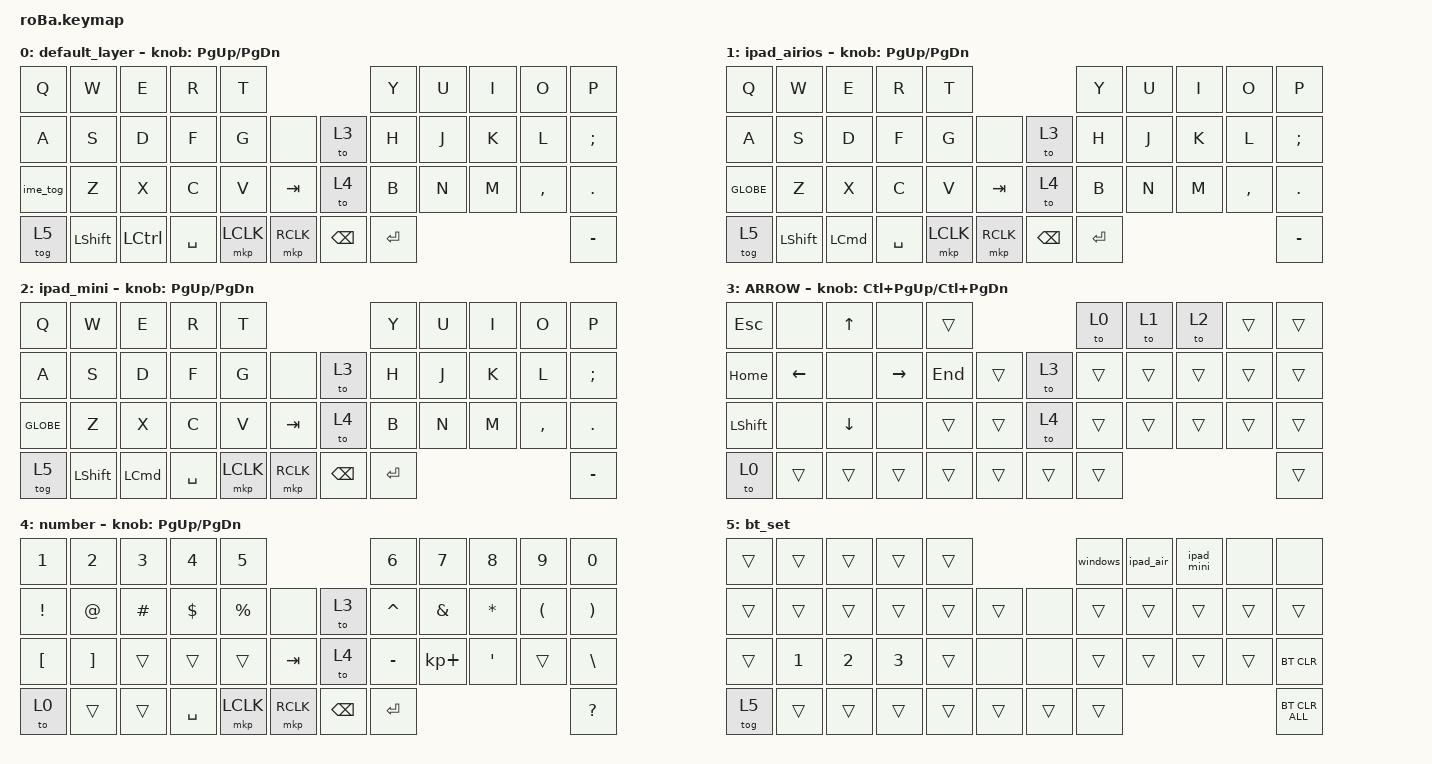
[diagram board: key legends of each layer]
#include <behaviors.dtsi>
#include <dt-bindings/zmk/bt.h>
#include <dt-bindings/zmk/keys.h>
#include <dt-bindings/zmk/pointing.h>

&mt {
    flavor = "balanced";
    quick-tap-ms = <0>;
};

&trackball {
    automouse-layer = <4>;
    scroll-layers = <5>;

    // arrows {
    //     layers = <3>;
    //     bindings =
    //         <&kp RIGHT_ARROW>,
    //         <&kp LEFT_ARROW>,
    //         <&kp UP_ARROW>,
    //         <&kp DOWN_ARROW>;
    //     tick = <10>;
    //     wait-ms = <5>;
    //     tap-ms = <5>;
    // };
};

/ {
    combos {
        compatible = "zmk,combos";

        tab {
            bindings = <&kp TAB>;
            key-positions = <11 12>;
        };

        shift_tab {
            bindings = <&kp LS(TAB)>;
            key-positions = <12 13>;
        };

        muhennkann {
            bindings = <&to_layer_0 INT_MUHENKAN>;
            key-positions = <11 10>;
        };

        double_quotation {
            bindings = <&kp DOUBLE_QUOTES>;
            key-positions = <20 21>;
        };

        eq {
            bindings = <&kp EQUAL>;
            key-positions = <24 25>;
        };
    };

    macros {
        to_layer_0: to_layer_0 {
            compatible = "zmk,behavior-macro-one-param";
            #binding-cells = <1>;
            bindings = <&to 0 &macro_param_1to1 &kp MACRO_PLACEHOLDER>;
            label = "TO_LAYER_0";
        };

        windows: windows {
            compatible = "zmk,behavior-macro";
            #binding-cells = <0>;
            bindings = <&bt BT_SEL 0>, <&macro_wait_time 200>, <&to 0>;

            label = "WINDOWS";
        };

        ipad_air: ipad_air {
            compatible = "zmk,behavior-macro";
            #binding-cells = <0>;
            bindings = <&bt BT_SEL 1>, <&macro_wait_time 200>, <&to 1>;

            label = "IPAD_AIR";
        };

        ipad_mini: ipad_mini {
            compatible = "zmk,behavior-macro";
            #binding-cells = <0>;
            bindings = <&bt BT_SEL 2>, <&macro_wait_time 200>, <&to 2>;

            label = "IPAD_MINI";
        };

        ime_tog: new_macro {
            compatible = "zmk,behavior-macro";
            #binding-cells = <0>;
            bindings =
                <&macro_press>,
                <&kp LEFT_ALT>,
                <&macro_tap>,
                <&kp GRAVE>,
                <&macro_release>,
                <&kp LEFT_ALT>;

            label = "NEW_MACRO";
        };

        mac_ime: mac_ime {
            compatible = "zmk,behavior-macro";
            #binding-cells = <0>;
            bindings =
                <&macro_press>,
                <&kp LEFT_CONTROL>,
                <&macro_tap>,
                <&kp SPACE>,
                <&macro_release>,
                <&kp LEFT_CONTROL>;

            label = "MAC_IME";
        };
    };

    behaviors {
        lt_to_layer_0: lt_to_layer_0 {
            compatible = "zmk,behavior-hold-tap";
            label = "LAYER_TAP_TO_0";
            bindings = <&mo>, <&to_layer_0>;

            #binding-cells = <2>;
            tapping-term-ms = <200>;
        };
    };

    keymap {
        compatible = "zmk,keymap";

        default_layer {
            bindings = <
&kp Q     &kp W           &kp E             &kp R      &kp T                               &kp Y    &kp U  &kp I  &kp O      &kp P
&kp A     &kp S           &kp D             &kp F      &kp G      &none          &to 3     &kp H    &kp J  &kp K  &kp L      &kp SEMICOLON
&ime_tog  &kp Z           &kp X             &kp C      &kp V      &kp TAB        &to 4     &kp B    &kp N  &kp M  &kp COMMA  &kp DOT
&tog 5    &kp LEFT_SHIFT  &kp LEFT_CONTROL  &kp SPACE  &mkp LCLK  &mkp RCLK      &kp BSPC  &kp RET                           &kp MINUS
            >;

            sensor-bindings = <&inc_dec_kp PAGE_UP PAGE_DOWN>;
        };

        ipad_airios {
            bindings = <
&kp Q      &kp W           &kp E             &kp R      &kp T                               &kp Y    &kp U  &kp I  &kp O      &kp P
&kp A      &kp S           &kp D             &kp F      &kp G      &none          &to 3     &kp H    &kp J  &kp K  &kp L      &kp SEMI
&kp GLOBE  &kp Z           &kp X             &kp C      &kp V      &kp TAB        &to 4     &kp B    &kp N  &kp M  &kp COMMA  &kp DOT
&tog 5     &kp LEFT_SHIFT  &kp LEFT_COMMAND  &kp SPACE  &mkp LCLK  &mkp RCLK      &kp BSPC  &kp RET                           &kp MINUS
            >;

            sensor-bindings = <&inc_dec_kp PAGE_UP PAGE_DOWN>;
        };

        ipad_mini {
            bindings = <
&kp Q      &kp W           &kp E             &kp R      &kp T                               &kp Y    &kp U  &kp I  &kp O      &kp P
&kp A      &kp S           &kp D             &kp F      &kp G      &none          &to 3     &kp H    &kp J  &kp K  &kp L      &kp SEMI
&kp GLOBE  &kp Z           &kp X             &kp C      &kp V      &kp TAB        &to 4     &kp B    &kp N  &kp M  &kp COMMA  &kp DOT
&tog 5     &kp LEFT_SHIFT  &kp LEFT_COMMAND  &kp SPACE  &mkp LCLK  &mkp RCLK      &kp BSPC  &kp RET                           &kp MINUS
            >;

            sensor-bindings = <&inc_dec_kp PAGE_UP PAGE_DOWN>;
        };

        ARROW {
            bindings = <
&kp ESCAPE      &none           &kp UP_ARROW    &none            &trans                       &to 0   &to 1   &to 2   &trans  &trans
&kp HOME        &kp LEFT_ARROW  &none           &kp RIGHT_ARROW  &kp END  &trans      &to 3   &trans  &trans  &trans  &trans  &trans
&kp LEFT_SHIFT  &none           &kp DOWN_ARROW  &none            &trans   &trans      &to 4   &trans  &trans  &trans  &trans  &trans
&to 0           &trans          &trans          &trans           &trans   &trans      &trans  &trans                          &trans
            >;

            sensor-bindings = <&inc_dec_kp LC(PAGE_UP) LC(PAGE_DOWN)>;
        };

        number {
            bindings = <
&kp N1    &kp N2             &kp N3     &kp N4      &kp N5                                     &kp N6     &kp N7         &kp N8            &kp N9                &kp N0
&kp EXCL  &kp AT_SIGN        &kp POUND  &kp DOLLAR  &kp PERCENT  &none          &to 3          &kp CARET  &kp AMPERSAND  &kp ASTERISK      &kp LEFT_PARENTHESIS  &kp RIGHT_PARENTHESIS
&kp LBKT  &kp RIGHT_BRACKET  &trans     &trans      &trans       &kp TAB        &to 4          &kp MINUS  &kp KP_PLUS    &kp SINGLE_QUOTE  &trans                &kp BACKSLASH
&to 0     &trans             &trans     &kp SPACE   &mkp LCLK    &mkp RCLK      &kp BACKSPACE  &kp ENTER                                                         &kp QUESTION
            >;

            sensor-bindings = <&inc_dec_kp PAGE_UP PAGE_DOWN>;
        };

        bt_set {
            bindings = <
&trans  &trans        &trans        &trans        &trans                      &windows  &ipad_air  &ipad_mini  &none   &none
&trans  &trans        &trans        &trans        &trans  &trans      &none   &trans    &trans     &trans      &trans  &trans
&trans  &kp NUMBER_1  &kp NUMBER_2  &kp NUMBER_3  &trans  &none       &none   &trans    &trans     &trans      &trans  &bt BT_CLR
&tog 5  &trans        &trans        &trans        &trans  &trans      &trans  &trans                                   &bt BT_CLR_ALL
            >;
        };
    };
};
